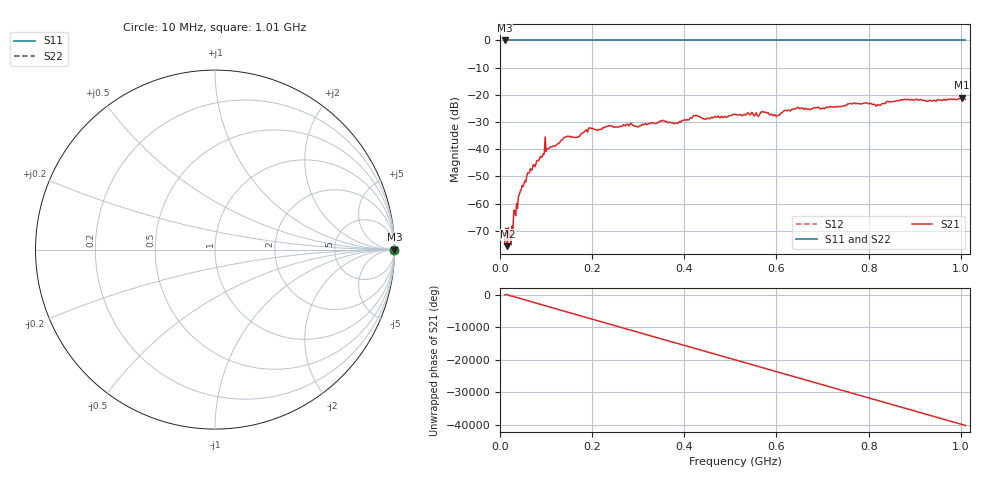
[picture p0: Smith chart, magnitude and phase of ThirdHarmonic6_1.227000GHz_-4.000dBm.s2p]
! 8/16/2025 12:55:07 PM
! C:\ANRITSUVNA\TEMP\TEMP.S2P
! CHANNEL.1
! TR.MEASUREMENT
! RAW.DATA
! RF.CORRECTION.OFF
! AVERAGING.OFF
! IF.BANDWIDTH: 5KHZ
! SWEEPTYPE:  FREQ.SWEEP(Linear)
! Reference Plane Port Info
! PORT:  PORT1  PORT2
! DISTANCE:  0  m  0  m
! TIME:  0  s  0  s
! PHASE.OFFSET:  0  deg.  0  deg.
! LOSS:  0  dB  0  dB
! REF.LOSS:  0  dB  0  dB
! REF.FREQ:  0  Hz  0  Hz
! Power Info
! POWER:  -20  dBm  -20  dBm
! EFF.POWER:  -20  dBm  -20  dBm
! SOURCE.ATTEN:  0  dB  0  dB
! TEST.ATTEN:  0  dB  0  dB
# GHZ S RI R 50.0
! FREQ.GHZ  S11RE  S11IM  S21RE  S21IM  S12RE  S12IM  S22RE  S22IM
!; PortSelection: Port_12
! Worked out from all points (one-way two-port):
!   501 points, 10 MHz to 1.01 GHz, reference 50 ohm
!   highest |S21| = -21.08 dB at 1.002 GHz (marker M1); lowest = -75.6 dB at 16 MHz (marker M2)
!   lowest |S11| = 0.0 dB at 10 MHz (marker M3)
!   |S11| at or under -10 dB: nowhere
!   |S22| runs from 0.0 to 0.0 dB; largest |S21 - S12| = 1.1
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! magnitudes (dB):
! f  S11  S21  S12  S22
! 10 MHz  0.0  -74.9  0.0  0.0
! 16 MHz  0.0  -75.6  0.0  0.0
! 20 MHz  0.0  -70.8  0.0  0.0
! 24 MHz  0.0  -75.1  0.0  0.0
! 32 MHz  0.0  -62.6  0.0  0.0
! 44 MHz  0.0  -55.4  0.0  0.0
! 62 MHz  0.0  -48.7  0.0  0.0
! 98 MHz  0.0  -35.4  0.0  0.0
! 142 MHz  0.0  -35.5  0.0  0.0
! 178 MHz  0.0  -34.1  0.0  0.0
! 196 MHz  0.0  -32.2  0.0  0.0
! 344 MHz  0.0  -30.2  0.0  0.0
! 382 MHz  0.0  -30.3  0.0  0.0
! 424 MHz  0.0  -27.6  0.0  0.0
! 510 MHz  0.0  -27.1  0.0  0.0
! 570 MHz  0.0  -26.1  0.0  0.0
! 602 MHz  0.0  -27.6  0.0  0.0
! 644 MHz  0.0  -24.9  0.0  0.0
! 678 MHz  0.0  -25.0  0.0  0.0
! 844 MHz  0.0  -22.6  0.0  0.0
! 1.002 GHz  0.0  -21.1  0.0  0.0
! 1.01 GHz  0.0  -21.6  0.0  0.0
